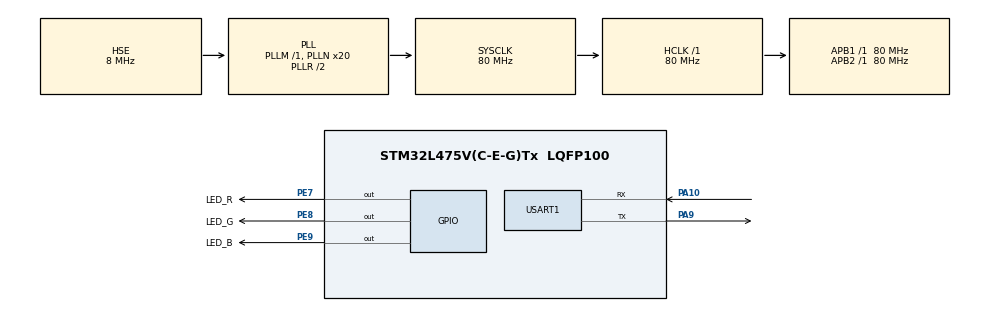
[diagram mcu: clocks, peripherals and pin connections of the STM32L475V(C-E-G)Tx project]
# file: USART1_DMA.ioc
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Dma.Request0=USART1_RX
Dma.Request1=USART1_TX
Dma.USART1_RX.0.Direction=DMA_PERIPH_TO_MEMORY
Dma.USART1_RX.0.Instance=DMA2_Channel7
Dma.USART1_RX.0.MemDataAlignment=DMA_MDATAALIGN_BYTE
Dma.USART1_RX.0.MemInc=DMA_MINC_ENABLE
Dma.USART1_RX.0.Mode=DMA_CIRCULAR
Dma.USART1_RX.0.PeriphDataAlignment=DMA_PDATAALIGN_BYTE
Dma.USART1_RX.0.PeriphInc=DMA_PINC_DISABLE
Dma.USART1_RX.0.Priority=DMA_PRIORITY_LOW
Dma.USART1_TX.1.Direction=DMA_MEMORY_TO_PERIPH
Dma.USART1_TX.1.Instance=DMA2_Channel6
Dma.USART1_TX.1.MemDataAlignment=DMA_MDATAALIGN_BYTE
Dma.USART1_TX.1.MemInc=DMA_MINC_ENABLE
Dma.USART1_TX.1.Mode=DMA_NORMAL
Dma.USART1_TX.1.PeriphDataAlignment=DMA_PDATAALIGN_BYTE
Dma.USART1_TX.1.PeriphInc=DMA_PINC_DISABLE
Dma.USART1_TX.1.Priority=DMA_PRIORITY_LOW
Mcu.Family=STM32L4
Mcu.Name=STM32L475V(C-E-G)Tx
Mcu.Package=LQFP100
NVIC.DMA2_Channel6_IRQn=true\:6\:0\:true\:false\:true\:false\:true
NVIC.DMA2_Channel7_IRQn=true\:7\:1\:true\:false\:true\:false\:true
NVIC.PriorityGroup=NVIC_PRIORITYGROUP_3
NVIC.USART1_IRQn=true\:7\:0\:true\:false\:true\:true\:true
PA10.Mode=Asynchronous
PA10.Signal=USART1_RX
PA13\ (JTMS-SWDIO).Mode=Serial_Wire
PA13\ (JTMS-SWDIO).Signal=SYS_JTMS-SWDIO
PA14\ (JTCK-SWCLK).Mode=Serial_Wire
PA14\ (JTCK-SWCLK).Signal=SYS_JTCK-SWCLK
PA9.Mode=Asynchronous
PA9.Signal=USART1_TX
PE7.GPIO_Label=LED_R
PE7.GPIO_PuPd=GPIO_PULLUP
PE7.GPIO_Speed=GPIO_SPEED_FREQ_HIGH
PE7.PinState=GPIO_PIN_SET
PE7.Signal=GPIO_Output
PE8.GPIO_Label=LED_G
PE8.GPIO_PuPd=GPIO_PULLUP
PE8.GPIO_Speed=GPIO_SPEED_FREQ_HIGH
PE8.PinState=GPIO_PIN_SET
PE8.Signal=GPIO_Output
PE9.GPIO_Label=LED_B
PE9.GPIO_PuPd=GPIO_PULLUP
PE9.GPIO_Speed=GPIO_SPEED_FREQ_HIGH
PE9.PinState=GPIO_PIN_SET
PE9.Signal=GPIO_Output
PH0-OSC_IN\ (PH0).Mode=HSE-External-Oscillator
PH0-OSC_IN\ (PH0).Signal=RCC_OSC_IN
PH1-OSC_OUT\ (PH1).Mode=HSE-External-Oscillator
PH1-OSC_OUT\ (PH1).Signal=RCC_OSC_OUT
ProjectManager.HeapSize=0x200
ProjectManager.StackSize=0x400
ProjectManager.TargetToolchain=MDK-ARM V5
RCC.ADCFreq_Value=32000000
RCC.AHBFreq_Value=80000000
RCC.APB1Freq_Value=80000000
RCC.APB1TimFreq_Value=80000000
RCC.APB2Freq_Value=80000000
RCC.APB2TimFreq_Value=80000000
RCC.CortexFreq_Value=80000000
RCC.HCLKFreq_Value=80000000
RCC.HSE_VALUE=8000000
RCC.HSI_VALUE=16000000
RCC.LSE_VALUE=32768
RCC.MSI_VALUE=4000000
RCC.PLLN=20
RCC.PLLSourceVirtual=RCC_PLLSOURCE_HSE
RCC.SYSCLKFreq_VALUE=80000000
RCC.SYSCLKSource=RCC_SYSCLKSOURCE_PLLCLK
RCC.USBFreq_Value=32000000
RCC.VCOOutputFreq_Value=160000000
USART1.VirtualMode-Asynchronous=VM_ASYNC
board=custom

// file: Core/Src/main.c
/* USER CODE BEGIN Header */
/**
  ******************************************************************************
  * @file           : main.c
  * @brief          : Main program body
  ******************************************************************************
  * @attention
  *
  * <h2><center>&copy; Copyright (c) 2019 STMicroelectronics.
  * All rights reserved.</center></h2>
  *
  * This software component is licensed by ST under BSD 3-Clause license,
  * the "License"; You may not use this file except in compliance with the
  * License. You may obtain a copy of the License at:
  *                        opensource.org/licenses/BSD-3-Clause
  *
  ******************************************************************************
  */
/* USER CODE END Header */

#include "main.h"
#include "dma.h"
#include "usart.h"
#include "gpio.h"

/* USER CODE BEGIN PV */

USART_BuffTypeDef usart1_buf;

/* USER CODE END PV */

void SystemClock_Config(void);

int main(void)
{
  /* USER CODE BEGIN 1 */

  uint16_t times = 0;
	uint16_t colors = BLACK;

  uint8_t *SendBuf = "\r\n请输入数据，以回车键结束：\r\n";

  /* USER CODE END 1 */

  /* MCU Configuration--------------------------------------------------------*/

  /* Reset of all peripherals, Initializes the Flash interface and the Systick. */
  HAL_Init();

  /* Configure the system clock */
  SystemClock_Config();

  /* Initialize all configured peripherals */
  MX_GPIO_Init();
  MX_DMA_Init();
  MX_USART1_UART_Init();
  /* USER CODE BEGIN 2 */

  if(HAL_UART_Receive_DMA(&huart1, usart1_buf.RxBuff, USART1_RX_LEN) != HAL_OK){
		Error_Handler();
	}

  if(HAL_UART_Transmit_DMA(&huart1, SendBuf, sizeof(SendBuf)) != HAL_OK){
		Error_Handler();
	}

  /* USER CODE END 2 */

  /* Infinite loop */
  while (1)
  {

    /* USER CODE BEGIN 3 */
    if(usart1_buf.Rx_end_flag == 1 && usart1_buf.RxSize != 0){
			printf("\r\n\r\n接收到的字符个数为：%d\r\n接收到的数据为：\r\n",usart1_buf.RxSize);
			usart1_buf.TxSize = usart1_buf.RxSize;
			usart1_buf.Tx_end_flag = 0;

			if(HAL_UART_Transmit_DMA(&huart1, usart1_buf.RxBuff, usart1_buf.RxSize) != HAL_OK){
				Error_Handler();
			}
      colors = usart1_buf.RxSize - 1;
			usart1_buf.RxSize = 0;
			usart1_buf.Rx_end_flag = 0;
			memset(usart1_buf.RxBuff,0,usart1_buf.RxSize);
		}else{

			if(times % 1000 == 0){
				printf("\r\n\r\n请输入数据，以回车键结束：\r\n");
			}

			RGB_ON((times/100)%2 ? colors : BLACK);

			times++;

			HAL_Delay(10);
		}
  }
  /* USER CODE END 3 */
}

void SystemClock_Config(void)
{
  RCC_OscInitTypeDef RCC_OscInitStruct = {0};
  RCC_ClkInitTypeDef RCC_ClkInitStruct = {0};
  RCC_PeriphCLKInitTypeDef PeriphClkInit = {0};

  /** Initializes the CPU, AHB and APB busses clocks
  */
  RCC_OscInitStruct.OscillatorType = RCC_OSCILLATORTYPE_HSE;
  RCC_OscInitStruct.HSEState = RCC_HSE_ON;
  RCC_OscInitStruct.PLL.PLLState = RCC_PLL_ON;
  RCC_OscInitStruct.PLL.PLLSource = RCC_PLLSOURCE_HSE;
  RCC_OscInitStruct.PLL.PLLM = 1;
  RCC_OscInitStruct.PLL.PLLN = 20;
  RCC_OscInitStruct.PLL.PLLP = RCC_PLLP_DIV7;
  RCC_OscInitStruct.PLL.PLLQ = RCC_PLLQ_DIV2;
  RCC_OscInitStruct.PLL.PLLR = RCC_PLLR_DIV2;
  if (HAL_RCC_OscConfig(&RCC_OscInitStruct) != HAL_OK)
  {
    Error_Handler();
  }
  /** Initializes the CPU, AHB and APB busses clocks
  */
  RCC_ClkInitStruct.ClockType = RCC_CLOCKTYPE_HCLK|RCC_CLOCKTYPE_SYSCLK
                              |RCC_CLOCKTYPE_PCLK1|RCC_CLOCKTYPE_PCLK2;
  RCC_ClkInitStruct.SYSCLKSource = RCC_SYSCLKSOURCE_PLLCLK;
  RCC_ClkInitStruct.AHBCLKDivider = RCC_SYSCLK_DIV1;
  RCC_ClkInitStruct.APB1CLKDivider = RCC_HCLK_DIV1;
  RCC_ClkInitStruct.APB2CLKDivider = RCC_HCLK_DIV1;

  if (HAL_RCC_ClockConfig(&RCC_ClkInitStruct, FLASH_LATENCY_4) != HAL_OK)
  {
    Error_Handler();
  }
  PeriphClkInit.PeriphClockSelection = RCC_PERIPHCLK_USART1;
  PeriphClkInit.Usart1ClockSelection = RCC_USART1CLKSOURCE_PCLK2;
  if (HAL_RCCEx_PeriphCLKConfig(&PeriphClkInit) != HAL_OK)
  {
    Error_Handler();
  }
  /** Configure the main internal regulator output voltage
  */
  if (HAL_PWREx_ControlVoltageScaling(PWR_REGULATOR_VOLTAGE_SCALE1) != HAL_OK)
  {
    Error_Handler();
  }
}

void Error_Handler(void)
{
}

/************************ (C) COPYRIGHT STMicroelectronics *****END OF FILE****/
